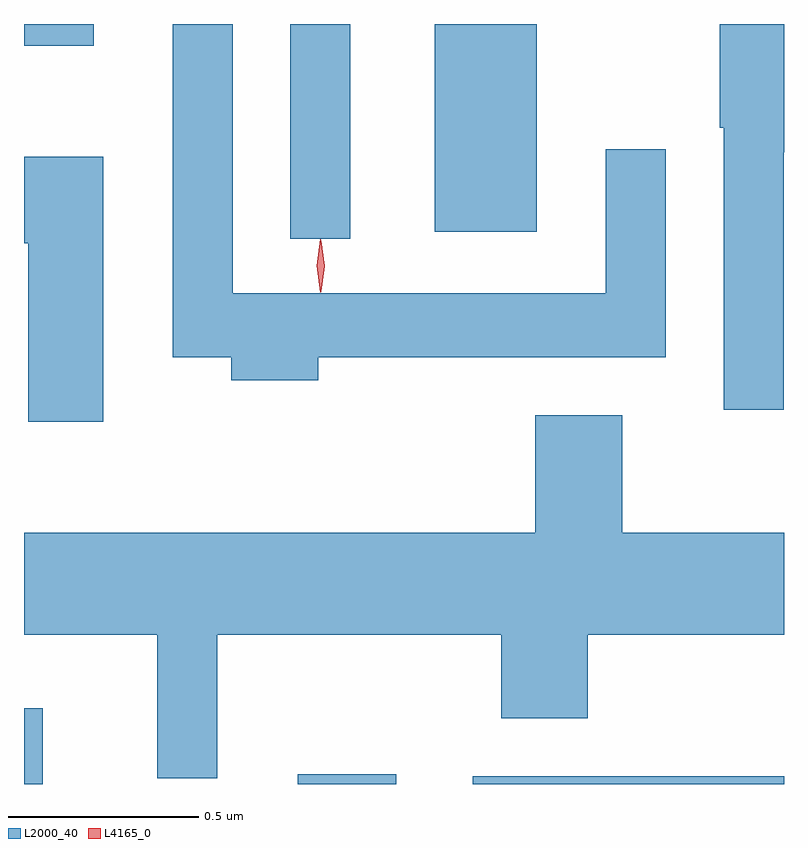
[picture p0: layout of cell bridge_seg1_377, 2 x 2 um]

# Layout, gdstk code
import gdstk
lib = gdstk.Library(unit=1e-6, precision=1e-09)
def R(c, l, rs):  # rectangles x0, y0, x1, y1
    for r in rs: c.add(gdstk.rectangle(r[:2], r[2:], *l))
def P(c, l, *ps):  # polygons
    for p in ps: c.add(gdstk.Polygon(p, *l))
L2000_40 = (2000, 40)
L4165_0 = (4165, 0)

bridge_seg1_377 = lib.new_cell('bridge_seg1_377')
R(bridge_seg1_377, L2000_40, [(884.615,868.103,884.664,868.303), (885.336,868.103,885.594,868.129), (885.796,868.103,886.615,868.124), (885.316,869.538,885.474,870.103), (885.696,869.556,885.964,870.103), (884.615,870.046,884.799,870.103)])
P(bridge_seg1_377, L2000_40, [(886.614,869.766),(886.615,869.766),(886.615,870.103),(886.446,870.103),(886.446,869.83),(886.456,869.83),(886.456,869.088),(886.614,869.088)],
  [(885.389,869.226),(886.304,869.226),(886.304,869.773),(886.146,869.773),(886.146,869.394),(885.164,869.394),(885.164,870.103),(885.006,870.103),(885.006,869.226),(885.161,869.226),(885.161,869.166),(885.389,869.166)],
  [(884.824,869.754),(884.615,869.754),(884.615,869.526),(884.626,869.526),(884.626,869.056),(884.824,869.056)],
  [(885.124,868.496),(885.871,868.496),(885.871,868.276),(886.099,868.276),(886.099,868.496),(886.615,868.496),(886.615,868.764),(886.189,868.764),(886.189,869.074),(885.961,869.074),(885.961,868.764),(884.615,868.764),(884.615,868.496),(884.966,868.496),(884.966,868.118),(885.124,868.118)])
P(bridge_seg1_377, L4165_0, [(885.395,869.397),(885.395,869.397),(885.385,869.467),(885.395,869.536),(885.395,869.536),(885.396,869.536),(885.406,869.467),(885.396,869.397)],
  [(885.397,869.399),(885.396,869.4),(885.387,869.466),(885.396,869.532),(885.397,869.533),(885.397,869.532),(885.407,869.466),(885.397,869.4)])

lib.write_gds('bridge_seg1_377.gds')
